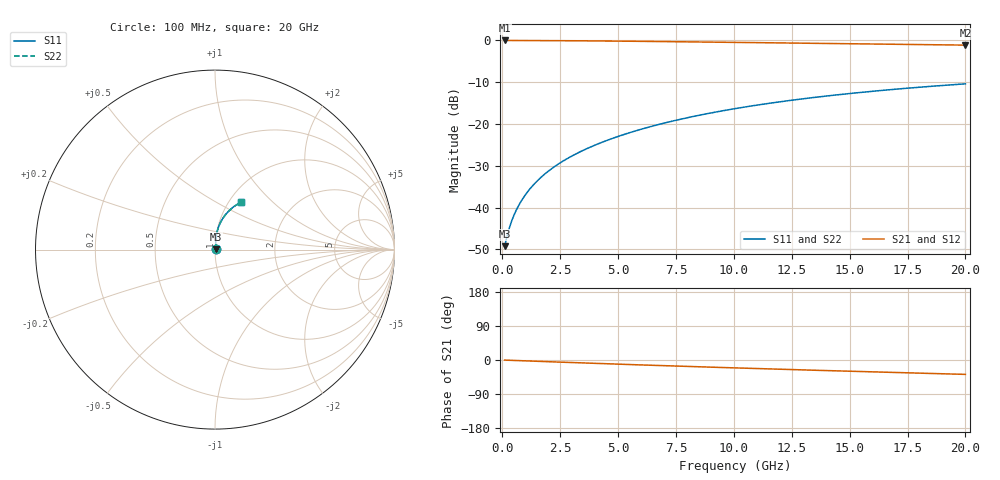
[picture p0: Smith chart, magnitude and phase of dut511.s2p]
! Touchstone file exported from HFSS 2024.1.0
!  File:  C:/UserFiles/LocalFiles/RDL_TSV_Batchsim/temp_RDL_top_511_1779679472.aedt
!  Generated:  11:26:34 AM May 25, 2026
!  Design:  RDL_top
!  Project:  temp_RDL_top_511_1779679472
!  Setup:  Setup1
!  Solution:  Sweep
! Variables:
!  dtsv = 10.80580581um
!  hbump = 3um
!  htsv = 82.63um
!  ldown = 100um
!  lrdl = 577.72um
!  p = 40
!  p1 = 41.63um
!  rhole = 1um
!  t = 450um
!  tdown = 3.915915916um
!  trdl = 3.19um
!  wdown = 15.38538539um
!  wrdl = 22.52um
# GHz S MA R 50.000000
! Terminal data exported
! Port[1] = Box2_T1
! Port[2] = Box2_T2
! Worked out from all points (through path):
!   200 points, 100 MHz to 20 GHz, reference 50 ohm
!   highest |S21| = -0.03 dB at 100 MHz (marker M1); lowest = -1.1 dB at 20 GHz (marker M2)
!   group delay of S21, straight-line fit = 5.22 ps
!   lowest |S11| = -49.2 dB at 100 MHz (marker M3), VSWR 1.01, Z = 50.3 + j0.161 ohm
!   |S11| at or under -10 dB: start of sweep to end of sweep
!   |S22| runs from -49.2 to -10.4 dB; largest |S21 - S12| = 2.7e-15
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0.1  0.003465 27.4  0.9969 -0.2  0.9969 -0.2  0.003465 27.4
! Gamma 0 0 0 0
! Port Impedance 50 0 50 0
0.2  0.004487 43.9  0.9967 -0.5  0.9967 -0.5  0.004487 43.9
0.3  0.00567 53.0  0.9965 -0.7  0.9965 -0.7  0.00567 53.0
0.4  0.006878 58.7  0.9963 -0.9  0.9963 -0.9  0.006878 58.7
0.5  0.008087 62.9  0.9961 -1.2  0.9961 -1.2  0.008087 62.8
0.6  0.009303 66.0  0.9959 -1.4  0.9959 -1.4  0.009303 66.0
0.8  0.01177 70.7  0.9956 -1.8  0.9956 -1.8  0.01177 70.7
1  0.01429 73.9  0.9952 -2.3  0.9952 -2.3  0.01429 73.9
1.2  0.01686 76.2  0.9948 -2.7  0.9948 -2.7  0.01686 76.2
1.7  0.02343 80.0  0.9937 -3.8  0.9937 -3.8  0.02343 79.9
2.2  0.0302 82.1  0.9923 -4.9  0.9923 -4.9  0.0302 82.0
2.8  0.03853 83.5  0.9901 -6.3  0.9901 -6.3  0.03853 83.5
3.5  0.04855 84.4  0.9871 -7.8  0.9871 -7.8  0.04854 84.4
4.2  0.05887 84.7  0.9836 -9.3  0.9836 -9.3  0.05885 84.7
5  0.07101 84.7  0.9791 -11.0  0.9791 -11.0  0.07098 84.6
6.8  0.09945 83.3  0.9679 -14.6  0.9679 -14.6  0.09939 83.3
8.4  0.1255 81.3  0.957 -17.7  0.957 -17.7  0.1254 81.2
10.1  0.1535 78.6  0.9452 -20.9  0.9452 -20.9  0.1534 78.6
11.7  0.1796 75.9  0.934 -23.8  0.934 -23.8  0.1794 75.8
13.4  0.2067 72.9  0.9221 -26.9  0.9221 -26.9  0.2064 72.8
16.7  0.2565 66.9  0.8993 -32.5  0.8993 -32.5  0.2562 66.9
20  0.302 61.1  0.877 -37.9  0.877 -37.9  0.3016 61.1
